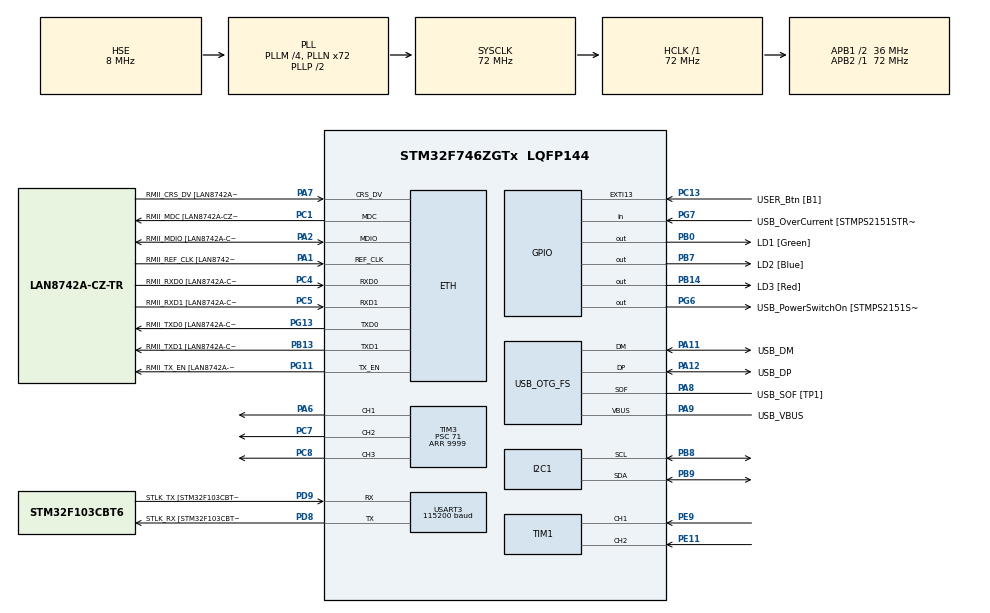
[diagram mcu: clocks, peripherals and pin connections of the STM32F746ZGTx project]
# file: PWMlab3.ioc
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ETH.MediaInterface=HAL_ETH_RMII_MODE
ETH.PHY_Name=LAN8742A_PHY_ADDRESS
ETH.PHY_Value=0
ETH.PhyAddress=0
I2C1.Timing=0x00808CD2
Mcu.Family=STM32F7
Mcu.Name=STM32F746ZGTx
Mcu.Package=LQFP144
NVIC.EXTI15_10_IRQn=true\:0\:0\:false\:false\:true\:true\:true\:true
NVIC.PriorityGroup=NVIC_PRIORITYGROUP_4
NVIC.USART3_IRQn=true\:0\:0\:false\:false\:true\:true\:true\:true
PA1.GPIO_Label=RMII_REF_CLK [LAN8742A-CZ-TR_REFCLK0]
PA1.Mode=RMII
PA1.Signal=ETH_REF_CLK
PA10.GPIO_Label=USB_ID
PA10.Signal=USB_OTG_FS_ID
PA11.GPIO_Label=USB_DM
PA11.Mode=Device_Only
PA11.Signal=USB_OTG_FS_DM
PA12.GPIO_Label=USB_DP
PA12.Mode=Device_Only
PA12.Signal=USB_OTG_FS_DP
PA13.GPIO_Label=TMS
PA13.Mode=Serial_Wire
PA13.Signal=SYS_JTMS-SWDIO
PA14.GPIO_Label=TCK
PA14.Mode=Serial_Wire
PA14.Signal=SYS_JTCK-SWCLK
PA2.GPIO_Label=RMII_MDIO [LAN8742A-CZ-TR_MDIO]
PA2.Mode=RMII
PA2.Signal=ETH_MDIO
PA6.Signal=S_TIM3_CH1
PA7.GPIO_Label=RMII_CRS_DV [LAN8742A-CZ-TR_CRS_DV]
PA7.Mode=RMII
PA7.Signal=ETH_CRS_DV
PA8.GPIO_Label=USB_SOF [TP1]
PA8.Mode=Activate_SOF_FS
PA8.Signal=USB_OTG_FS_SOF
PA9.GPIO_Label=USB_VBUS
PA9.Mode=Activate_VBUS
PA9.Signal=USB_OTG_FS_VBUS
PB0.GPIO_Label=LD1 [Green]
PB0.Signal=GPIO_Output
PB13.GPIO_Label=RMII_TXD1 [LAN8742A-CZ-TR_TXD1]
PB13.Mode=RMII
PB13.Signal=ETH_TXD1
PB14.GPIO_Label=LD3 [Red]
PB14.Signal=GPIO_Output
PB3.GPIO_Label=SW0
PB3.Signal=SYS_JTDO-SWO
PB7.GPIO_Label=LD2 [Blue]
PB7.Signal=GPIO_Output
PB8.Mode=I2C
PB8.Signal=I2C1_SCL
PB9.Mode=I2C
PB9.Signal=I2C1_SDA
PC1.GPIO_Label=RMII_MDC [LAN8742A-CZ-TR_MDC]
PC1.Mode=RMII
PC1.Signal=ETH_MDC
PC13.GPIO_Label=USER_Btn [B1]
PC13.Signal=GPXTI13
PC14/OSC32_IN.Mode=LSE-External-Oscillator
PC14/OSC32_IN.Signal=RCC_OSC32_IN
PC15/OSC32_OUT.Mode=LSE-External-Oscillator
PC15/OSC32_OUT.Signal=RCC_OSC32_OUT
PC4.GPIO_Label=RMII_RXD0 [LAN8742A-CZ-TR_RXD0]
PC4.Mode=RMII
PC4.Signal=ETH_RXD0
PC5.GPIO_Label=RMII_RXD1 [LAN8742A-CZ-TR_RXD1]
PC5.Mode=RMII
PC5.Signal=ETH_RXD1
PC7.Signal=S_TIM3_CH2
PC8.Signal=S_TIM3_CH3
PD8.GPIO_Label=STLK_RX [STM32F103CBT6_PA3]
PD8.GPIO_PuPd=GPIO_PULLUP
PD8.Mode=Asynchronous
PD8.Signal=USART3_TX
PD9.GPIO_Label=STLK_TX [STM32F103CBT6_PA2]
PD9.GPIO_PuPd=GPIO_PULLUP
PD9.Mode=Asynchronous
PD9.Signal=USART3_RX
PE11.Signal=S_TIM1_CH2
PE9.Signal=S_TIM1_CH1
PG11.GPIO_Label=RMII_TX_EN [LAN8742A-CZ-TR_TXEN]
PG11.Mode=RMII
PG11.Signal=ETH_TX_EN
PG13.GPIO_Label=RMII_TXD0 [LAN8742A-CZ-TR_TXD0]
PG13.Mode=RMII
PG13.Signal=ETH_TXD0
PG6.GPIO_Label=USB_PowerSwitchOn [STMPS2151STR_EN]
PG6.Signal=GPIO_Output
PG7.GPIO_Label=USB_OverCurrent [STMPS2151STR_FAULT]
PG7.Signal=GPIO_Input
PH0/OSC_IN.GPIO_Label=MCO [STM32F103CBT6_PA8]
PH0/OSC_IN.Mode=HSE-External-Clock-Source
PH0/OSC_IN.Signal=RCC_OSC_IN
PH1/OSC_OUT.Mode=HSE-External-Clock-Source
PH1/OSC_OUT.Signal=RCC_OSC_OUT
ProjectManager.HeapSize=0x200
ProjectManager.StackSize=0x400
ProjectManager.TargetToolchain=STM32CubeIDE
RCC.48MHZClocksFreq_Value=24000000
RCC.AHBFreq_Value=72000000
RCC.APB1CLKDivider=RCC_HCLK_DIV2
RCC.APB1Freq_Value=36000000
RCC.APB1TimFreq_Value=72000000
RCC.APB2Freq_Value=72000000
RCC.APB2TimFreq_Value=72000000
RCC.CortexFreq_Value=72000000
RCC.HCLKFreq_Value=72000000
RCC.HSE_VALUE=8000000
RCC.HSI_VALUE=16000000
RCC.PLLM=4
RCC.PLLMUL=RCC_PLL_MUL9
RCC.PLLN=72
RCC.PLLQ=3
RCC.PRESCALERUSB=RCC_USBCLKSOURCE_PLL_DIV1_5
RCC.SYSCLKFreq_VALUE=72000000
RCC.SYSCLKSource=RCC_SYSCLKSOURCE_PLLCLK
RCC.SYSCLKSourceVirtual=RCC_SYSCLKSOURCE_PLLCLK
RCC.USBFreq_Value=48000000
RCC.VCOOutputFreq_Value=144000000
SH.S_TIM1_CH1.0=TIM1_CH1,Encoder_Interface
SH.S_TIM1_CH2.0=TIM1_CH2,Encoder_Interface
SH.S_TIM3_CH1.0=TIM3_CH1,PWM Generation1 CH1
SH.S_TIM3_CH2.0=TIM3_CH2,PWM Generation2 CH2
SH.S_TIM3_CH3.0=TIM3_CH3,PWM Generation3 CH3
TIM1.EncoderMode=TIM_ENCODERMODE_TI12
TIM2.Period=9999
TIM2.Prescaler=7199
TIM3.Channel-PWM\ Generation1\ CH1=TIM_CHANNEL_1
TIM3.Channel-PWM\ Generation2\ CH2=TIM_CHANNEL_2
TIM3.Channel-PWM\ Generation3\ CH3=TIM_CHANNEL_3
TIM3.Period=9999
TIM3.Prescaler=71
TIM3.Pulse-PWM\ Generation1\ CH1=5000
TIM3.Pulse-PWM\ Generation2\ CH2=5000
TIM3.Pulse-PWM\ Generation3\ CH3=5000
USART3.BaudRate=115200
USART3.VirtualMode-Asynchronous=VM_ASYNC
USB_OTG_FS.VirtualMode=Device_Only
VP_TIM2_VS_ClockSourceINT.Mode=Internal
VP_TIM3_VS_ClockSourceINT.Mode=Internal
board=NUCLEO-F746ZG

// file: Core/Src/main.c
/* USER CODE BEGIN Header */
/**
  ******************************************************************************
  * @file           : main.c
  * @brief          : Main program body
  ******************************************************************************
  * @attention
  *
  * Copyright (c) 2025 STMicroelectronics.
  * All rights reserved.
  *
  * This software is licensed under terms that can be found in the LICENSE file
  * in the root directory of this software component.
  * If no LICENSE file comes with this software, it is provided AS-IS.
  *
  ******************************************************************************
  */
/* USER CODE END Header */
#include "main.h"
#include "eth.h"
#include "i2c.h"
#include "tim.h"
#include "usart.h"
#include "usb_otg.h"
#include "gpio.h"

void SystemClock_Config(void);

/* USER CODE BEGIN 0 */

void SetPWM(TIM_HandleTypeDef *htim, uint32_t channel, float duty)
{
	if (duty < 0.0f)
		duty = 0.0f;
	if (duty > 100.0f)
		duty = 100.0f;

	uint32_t ARR = __HAL_TIM_GET_AUTORELOAD(htim);
	uint32_t compare = (uint32_t)((duty / 100.0f) * (ARR + 1));
	__HAL_TIM_SET_COMPARE(htim, channel, compare);
}

float red = 0.0f;
float green = 0.0f;
float blue = 0.0f;
float duty = 0.0f;
uint8_t rxBuffer[12];
int pos =0;

void HAL_UART_RxCpltCallback(UART_HandleTypeDef *huart)
{

	//	char color = rxBuffer[0];
	//	if (rxBuffer[0] == 'R' && rxBuffer[4] == 'G' && rxBuffer[8] == 'B') {
	int valueR = atoi((char *)&rxBuffer[1]);
	int valueG = atoi((char *)&rxBuffer[5]);
	int valueB = atoi((char *)&rxBuffer[9]);

	float dutyR = (float)valueR;
	float dutyG = (float)valueG;
	float dutyB = (float)valueB;

	SetPWM(&htim3, TIM_CHANNEL_1, dutyR);
	SetPWM(&htim3, TIM_CHANNEL_2, dutyG);
	SetPWM(&htim3, TIM_CHANNEL_3, dutyB);

	//	}

	HAL_UART_Receive_IT(&huart3, rxBuffer, 12);

}

void zad1()
{

	red = 100.0f;
	green = 10.0f;
	blue = 10.0f;

	SetPWM(&htim3, TIM_CHANNEL_1, red);
	SetPWM(&htim3, TIM_CHANNEL_2, green);
	SetPWM(&htim3, TIM_CHANNEL_3, blue);
}

void zad2()
{
	if (__HAL_TIM_GET_FLAG(&htim2, TIM_FLAG_UPDATE))
	{
		__HAL_TIM_CLEAR_FLAG(&htim2, TIM_FLAG_UPDATE);

		duty += 10.0f;
		if (duty > 100.0f)
			duty = 0.0f;
		SetPWM(&htim3, TIM_CHANNEL_1, duty);
		SetPWM(&htim3, TIM_CHANNEL_2, duty);
		SetPWM(&htim3, TIM_CHANNEL_3, duty);
	}
}

void zad3()
{

	//	float dutyR = 0, dutyG = 0, dutyB = 0;

	HAL_UART_Receive_IT(&huart3, rxBuffer, 12);
}

/* USER CODE END 0 */

int main(void)
{

  /* USER CODE BEGIN 1 */
//HAL_Tim
  /* USER CODE END 1 */

  /* MCU Configuration--------------------------------------------------------*/

  /* Reset of all peripherals, Initializes the Flash interface and the Systick. */
  HAL_Init();

  /* Configure the system clock */
  SystemClock_Config();

  /* Initialize all configured peripherals */
  MX_GPIO_Init();
  MX_ETH_Init();
  MX_I2C1_Init();
  MX_USART3_UART_Init();
  MX_USB_OTG_FS_PCD_Init();
  MX_TIM3_Init();
  MX_TIM2_Init();
  MX_TIM1_Init();
  /* USER CODE BEGIN 2 */
  //HAL_TIM_PWM_Start(&htim1, TIM_CHANNEL_4);// jest to sygnał sprzętowy dlatego nie zobaczymy jego wartosci np w swv nie ma jak go porównać do niczego

	HAL_TIM_Base_Start(&htim2);

	HAL_TIM_PWM_Start(&htim3, TIM_CHANNEL_1);
	HAL_TIM_PWM_Start(&htim3, TIM_CHANNEL_2);
	HAL_TIM_PWM_Start(&htim3, TIM_CHANNEL_3);
zad3();
HAL_TIM_Encoder_Start(&htim1, TIM_CHANNEL_ALL);
  /* USER CODE END 2 */

  /* Infinite loop */
  while (1)
  {

    /* USER CODE BEGIN 3 */
	  HAL_Delay(1);
pos = htim1.Instance->CNT;
  }
  /* USER CODE END 3 */
}

void SystemClock_Config(void)
{
  RCC_OscInitTypeDef RCC_OscInitStruct = {0};
  RCC_ClkInitTypeDef RCC_ClkInitStruct = {0};

  /** Configure LSE Drive Capability
  */
  HAL_PWR_EnableBkUpAccess();

  /** Configure the main internal regulator output voltage
  */
  __HAL_RCC_PWR_CLK_ENABLE();
  __HAL_PWR_VOLTAGESCALING_CONFIG(PWR_REGULATOR_VOLTAGE_SCALE3);

  /** Initializes the RCC Oscillators according to the specified parameters
  * in the RCC_OscInitTypeDef structure.
  */
  RCC_OscInitStruct.OscillatorType = RCC_OSCILLATORTYPE_HSE;
  RCC_OscInitStruct.HSEState = RCC_HSE_BYPASS;
  RCC_OscInitStruct.PLL.PLLState = RCC_PLL_ON;
  RCC_OscInitStruct.PLL.PLLSource = RCC_PLLSOURCE_HSE;
  RCC_OscInitStruct.PLL.PLLM = 4;
  RCC_OscInitStruct.PLL.PLLN = 72;
  RCC_OscInitStruct.PLL.PLLP = RCC_PLLP_DIV2;
  RCC_OscInitStruct.PLL.PLLQ = 3;
  if (HAL_RCC_OscConfig(&RCC_OscInitStruct) != HAL_OK)
  {
    Error_Handler();
  }

  /** Initializes the CPU, AHB and APB buses clocks
  */
  RCC_ClkInitStruct.ClockType = RCC_CLOCKTYPE_HCLK|RCC_CLOCKTYPE_SYSCLK
                              |RCC_CLOCKTYPE_PCLK1|RCC_CLOCKTYPE_PCLK2;
  RCC_ClkInitStruct.SYSCLKSource = RCC_SYSCLKSOURCE_PLLCLK;
  RCC_ClkInitStruct.AHBCLKDivider = RCC_SYSCLK_DIV1;
  RCC_ClkInitStruct.APB1CLKDivider = RCC_HCLK_DIV2;
  RCC_ClkInitStruct.APB2CLKDivider = RCC_HCLK_DIV1;

  if (HAL_RCC_ClockConfig(&RCC_ClkInitStruct, FLASH_LATENCY_2) != HAL_OK)
  {
    Error_Handler();
  }
}

void Error_Handler(void)
{
  __disable_irq();
  while (1)
  {
  }
}
